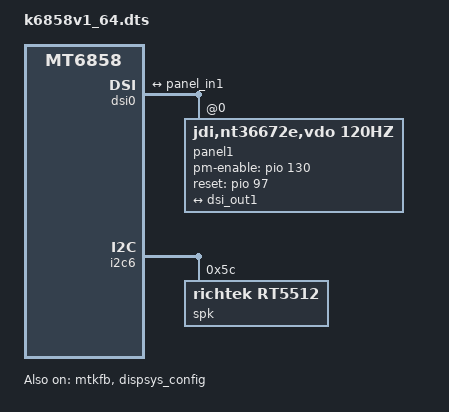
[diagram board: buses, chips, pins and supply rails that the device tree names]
// SPDX-License-Identifier: (GPL-2.0 OR MIT)
/*
 * Copyright (c) 2024 MediaTek Inc.
 */

/dts-v1/;
/plugin/;
#include <dt-bindings/interrupt-controller/arm-gic.h>
#include <dt-bindings/interrupt-controller/irq.h>
#include <dt-bindings/phy/phy.h>
#include <dt-bindings/pinctrl/mt6858-pinfunc.h>

/* chosen */
&chosen {
	bootargs_ext = "";
};

&mtkfb {
	pinctrl-names = "lcd_bias_enp0_gpio",
		"lcd_bias_enn0_gpio",
		"lcm_rst_out0_gpio",
		"mode_te_te",
		"lcm_led_en0_gpio";
	pinctrl-0 = <&mtkfb_pins_lcd_bias_enp0>;
	pinctrl-1 = <&mtkfb_pins_lcd_bias_enn0>;
	pinctrl-2 = <&mtkfb_pins_lcm_rst_out0_gpio>;
	pinctrl-3 = <&mtkfb_pins_lcm_dsi_te>;
	pinctrl-4 = <&mtkfb_pins_lcm_led_en0>;

	status = "okay";
};

&dispsys_config {
	pinctrl-names = "mode_te_te";
	pinctrl-0 = <&mtkfb_pins_lcm_dsi_te>;
	status = "okay";
};

&dsi0 {
	status = "okay";
	#address-cells = <1>;
	#size-cells = <0>;
	panel1@0 {
		compatible = "jdi,nt36672e,vdo,120hz";
		reg = <0>;
		pm-enable-gpios = <&pio 130 0>;
		reset-gpios = <&pio 97 0>;
		gate-ic = <4831>;
		pinctrl-names = "default";
		port {
			panel_in1: endpoint {
				remote-endpoint = <&dsi_out1>;
			};
		};
	};
	ports {
		port {
			dsi_out1: endpoint@0 {
				remote-endpoint = <&panel_in1>;
			};
		};
	};
};

&mt6363keys {
	pinctrl-names = "kpcol0_mode";
	pinctrl-0 = <&kpcol0_pins_gpio_mode>;
	home2 {
		linux,keycodes = <114>;
		wakeup-source;
	};
};

&pio {
	kpcol0_pins_gpio_mode: gpio-mode {
		pins-cmd-dat {
			pinmux = <PINMUX_GPIO120__FUNC_GPIO120>;
			input-enable;
		};
	};

	mtkfb_pins_lcd_bias_enp0: lcd-bias-enp0-gpio {
		pins-cmd-dat {
			pinmux = <PINMUX_GPIO130__FUNC_GPIO130>;
			slew-rate = <1>;
			output-low;
		};
	};

	mtkfb_pins_lcd_bias_enn0: lcd-bias-enn0-gpio {
		pins-cmd-dat {
			pinmux = <PINMUX_GPIO130__FUNC_GPIO130>;
			slew-rate = <1>;
			output-low;
		};
	};

	mtkfb_pins_lcm_rst_out0_gpio: lcm-rst-out0-gpio {
		pins-cmd-dat {
			pinmux = <PINMUX_GPIO97__FUNC_GPIO97>;
			slew-rate = <1>;
			output-low;
		};
	};
	mtkfb_pins_lcm_dsi_te: lcm-dsi-te {
		pins-cmd-dat {
			pinmux = <PINMUX_GPIO96__FUNC_DSI_TE>;
		};
	};

	mtkfb_pins_lcm_led_en0: lcm-led-en0-gpio {
		pins-cmd-dat {
			pinmux = <PINMUX_GPIO130__FUNC_GPIO130>;
			slew-rate = <1>;
			output-low;
		};
	};
};

&i2c6 {
	spk: speaker-amp@5c {
		compatible = "richtek,rt5512";
		#address-cells = <1>;
		#size-cells = <0>;
		#sound-dai-cells = <0>;
		reg = <0x5c>;
		status = "okay";
		sound-name-prefix = "Left";
	};
};

&sound {
	mediatek,spk-i2s = <23 22>;
	mediatek,speaker-codec {
		sound-dai = <&spk>;
	};
};

#include <k6858v1_64/cust.dtsi>
#include "mediatek/cust_mt6858_camera_v4l2.dtsi"
#include "mediatek/cust_mt6858_camera.dtsi"
#include "mediatek/cust_mt6858_touch_1080x2400.dtsi"
/*End of this file, DO NOT ADD ANYTHING HERE*/
